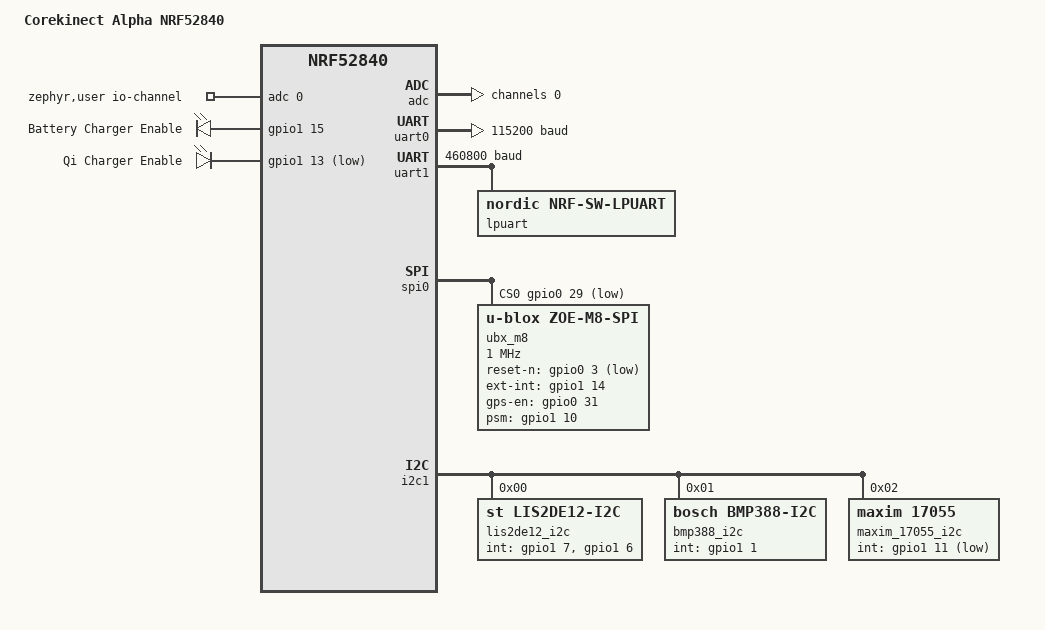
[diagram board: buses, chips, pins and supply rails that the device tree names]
/*
 * Copyright (c) 2017 Linaro Limited
 *
 * SPDX-License-Identifier: Apache-2.0
 */

/dts-v1/;
#include <nordic/nrf52840_qiaa.dtsi>
#include "alpha_nrf52840-pinctrl.dtsi"
#include <zephyr/dt-bindings/input/input-event-codes.h>

/ {
	model = "Corekinect Alpha NRF52840";
	compatible = "corekinect,alpha-nrf52840";

	chosen {
        zephyr,console = &uart0;
        zephyr,shell-uart = &uart0;
        zephyr,uart-mcumgr = &uart0;
        zephyr,bt-mon-uart = &uart0;
        zephyr,bt-c2h-uart = &uart0;
        zephyr,sram = &sram0;
        zephyr,flash = &flash0;
        zephyr,code-partition = &slot0_partition;
    };

    zephyr,user {
        io-channels = <&adc 0>;
    };

    leds {
        compatible = "gpio-leds";
    };

    control_pins {
        compatible = "gpio-leds";
        chrg_en: chrg_en {
            gpios = <&gpio1 15 GPIO_PULL_UP>;
            label = "Battery Charger Enable";
        };
        qi_ctrl: qi_ctrl {
            gpios = <&gpio1 13 GPIO_ACTIVE_LOW>;
            label = "Qi Charger Enable";
        };
    };

    interrupts {
        compatible = "gpio-keys";
    };
};

&adc {
    status = "okay";
    #address-cells = <1>;
    #size-cells = <0>;

    channel@0 {
        reg = <0>;
        zephyr,gain = "ADC_GAIN_1_6";
        zephyr,reference = "ADC_REF_INTERNAL";
        zephyr,acquisition-time = <ADC_ACQ_TIME(ADC_ACQ_TIME_MICROSECONDS, 40)>;
        zephyr,input-positive = <NRF_SAADC_AIN0>; /* P0.02 */
        zephyr,resolution = <10>;
    };
};

&gpiote {
    status = "okay";
    interrupts = <6 NRF_DEFAULT_IRQ_PRIORITY>;
};

&gpio0 {
    status = "okay";
};

&gpio1 {
    status = "okay";
};

&uart0 {
    status = "okay";
    current-speed = <115200>;
    pinctrl-0 = <&uart0_default>;
    pinctrl-1 = <&uart0_sleep>;
    pinctrl-names = "default", "sleep";
};

&uart1 {
    status = "okay";
    current-speed = <460800>;
    pinctrl-0 = <&lpuart_uart1_default>;
    pinctrl-1 = <&lpuart_uart1_sleep>;
    pinctrl-names = "default", "sleep";

    lpuart: nrf-sw-lpuart {
        compatible = "nordic,nrf-sw-lpuart";
        status = "okay";
        req-pin = <17>; // IPC_NRF91_RDY
        rdy-pin = <16>; // IPC_NRF91_REQ
    };
};

&spi0 {
    compatible = "nordic,nrf-spim";
    status = "okay";
    pinctrl-0 = <&spi0_default>;
    pinctrl-1 = <&spi0_sleep>;
    pinctrl-names = "default", "sleep";

    cs-gpios = <&gpio0 29 (GPIO_ACTIVE_LOW)>;

    ubx_m8: ubx-m8@0 {
        compatible = "u-blox,zoe-m8-spi";
        reg = <0>;
        reset-n-gpios = <&gpio0 3 (GPIO_ACTIVE_LOW | GPIO_OPEN_DRAIN)>;
        ext-int-gpios = <&gpio1 14 (GPIO_PULL_DOWN | GPIO_ACTIVE_HIGH)>;
        gps-en-gpios = <&gpio0 31 GPIO_ACTIVE_HIGH>;
        psm-gpios = <&gpio1 10 GPIO_ACTIVE_HIGH>;
        spi-max-frequency = <1000000>;
    };
};

&i2c1 {
    compatible = "nordic,nrf-twim";
    status = "okay";
    pinctrl-0 = <&i2c1_default>;
    pinctrl-1 = <&i2c1_sleep>;
    pinctrl-names = "default", "sleep";

    lis2de12_i2c: lis2de12_i2c@0 {
        compatible = "st,lis2de12-i2c";
        reg = <0>;
        int-gpios = <&gpio1 7 GPIO_ACTIVE_HIGH>,
                    <&gpio1 6 GPIO_ACTIVE_HIGH>;
    };

    bmp388_i2c: bmp388_i2c@1 {
        compatible = "bosch,bmp388-i2c";
        reg = <1>;
        int-gpios = <&gpio1 1 GPIO_ACTIVE_HIGH>;
    };

    maxim_17055_i2c: maxim_17055_i2c@2 {
        compatible = "maxim,17055";
        reg = <2>;
        int-gpios = <&gpio1 11 (GPIO_PULL_UP | GPIO_ACTIVE_LOW)>;
    };
};

&flash0 {
    partitions {
        compatible = "fixed-partitions";
        #address-cells = <1>;
        #size-cells = <1>;

        boot_partition: partition@0 {
            label = "mcuboot";
            reg = <0x00000000 0x0000C000>;
        };
        slot0_partition: partition@c000 {
            label = "image-0";
            reg = <0x0000C000 0x00072000>;
        };
        slot1_partition: partition@7e000 {
            label = "image-1";
            reg = <0x0007E000 0x00072000>;
        };
        storage_partition: partition@f0000 {
            label = "storage";
            reg = <0x000F0000 0x00006000>;
        };

        /* Add a new reserved partition for the pre-compiled library */
        psp_rom_partition: partition@e0000 {
            label = "psp_rom";
            reg = <0x000E0000 0x00012FDE>; /* Reserve the required address range */
        };
    };
};
